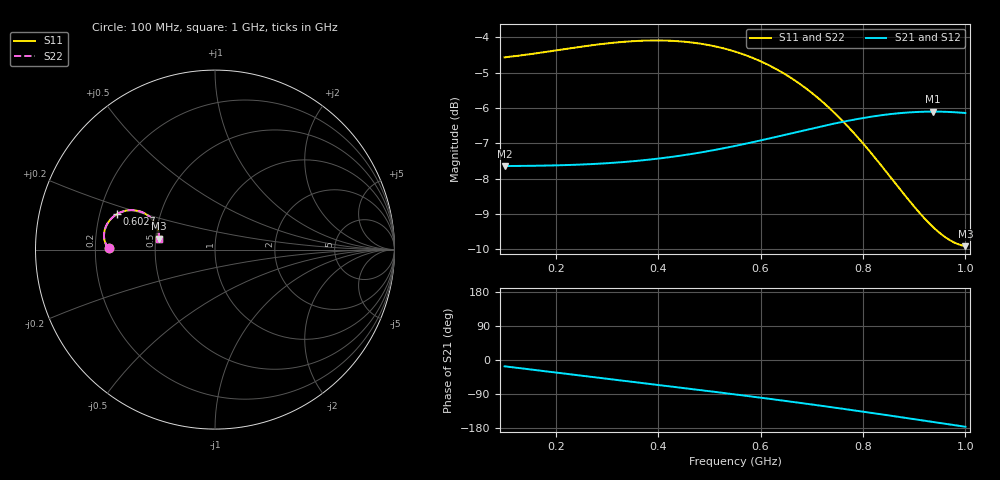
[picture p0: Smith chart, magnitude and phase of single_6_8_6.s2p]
! Created with skrf (http://scikit-rf.org).
# MHz S RI R 376.73031366686166
!freq ReS11 ImS11 ReS21 ImS21 ReS12 ImS12 ReS22 ImS22
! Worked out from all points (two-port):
!   300 points, 100 MHz to 1 GHz, reference 376.73 ohm
!   highest |S21| = -6.10 dB at 936.8 MHz (marker M1); lowest = -7.6 dB at 100 MHz (marker M2)
!   |S21| within 3 dB of the highest: start of sweep to end of sweep
!   lowest |S11| = -9.9 dB at 1 GHz (marker M3), VSWR 1.94, Z = 196 + j27 ohm
!   |S11| at or under -10 dB: nowhere
!   |S22| runs from -9.9 to -4.1 dB; largest |S21 - S12| = 7.5e-16
!   S11 on the Smith chart (normalised r, x): 100 MHz: 0.26, +0.01; 602.7 MHz: 0.27, +0.16; 1 GHz: 0.52, +0.07
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100  -0.591 0.00695  0.3973 -0.1187  0.3973 -0.1187  -0.591 0.00695
136.1204  -0.5952 0.0114  0.3829 -0.1595  0.3829 -0.1595  -0.5952 0.0114
172.2408  -0.6001 0.0173  0.3646 -0.1986  0.3646 -0.1986  -0.6001 0.0173
211.3712  -0.6057 0.0259  0.3405 -0.2385  0.3405 -0.2385  -0.6057 0.0259
250.5017  -0.6109 0.0368  0.3125 -0.2757  0.3125 -0.2757  -0.6109 0.0368
325.7525  -0.6178 0.0642  0.2485 -0.3383  0.2485 -0.3383  -0.6178 0.0642
401.0033  -0.6166 0.0988  0.173 -0.3881  0.173 -0.3881  -0.6166 0.0988
440.1338  -0.6115 0.1187  0.1296 -0.4085  0.1296 -0.4085  -0.6115 0.1187
479.2642  -0.6027 0.139  0.0835 -0.4248  0.0835 -0.4248  -0.6027 0.139
515.3846  -0.591 0.1575  0.0388 -0.4359  0.0388 -0.4359  -0.591 0.1575
551.505  -0.5758 0.175  -0.00797 -0.4428  -0.00797 -0.4428  -0.5758 0.175
602.6756  -0.5481 0.1966  -0.0773 -0.4445  -0.0773 -0.4445  -0.5481 0.1966
653.8462  -0.5138 0.2124  -0.1493 -0.4353  -0.1493 -0.4353  -0.5138 0.2124
702.0067  -0.4769 0.2195  -0.218 -0.4152  -0.218 -0.4152  -0.4769 0.2195
741.1371  -0.4448 0.2186  -0.273 -0.3896  -0.273 -0.3896  -0.4448 0.2186
777.2575  -0.4151 0.2117  -0.3217 -0.3584  -0.3217 -0.3584  -0.4151 0.2117
813.3779  -0.3867 0.1988  -0.3669 -0.3198  -0.3669 -0.3198  -0.3867 0.1988
852.5084  -0.3591 0.1782  -0.4102 -0.27  -0.4102 -0.27  -0.3591 0.1782
894.6488  -0.3353 0.1495  -0.448 -0.2084  -0.448 -0.2084  -0.3353 0.1495
936.7893  -0.3195 0.1159  -0.4748 -0.1405  -0.4748 -0.1405  -0.3195 0.1159
969.8997  -0.3135 0.0876  -0.4873 -0.0845  -0.4873 -0.0845  -0.3135 0.0876
1000  -0.3132 0.0618  -0.4918 -0.0329  -0.4918 -0.0329  -0.3132 0.0618
